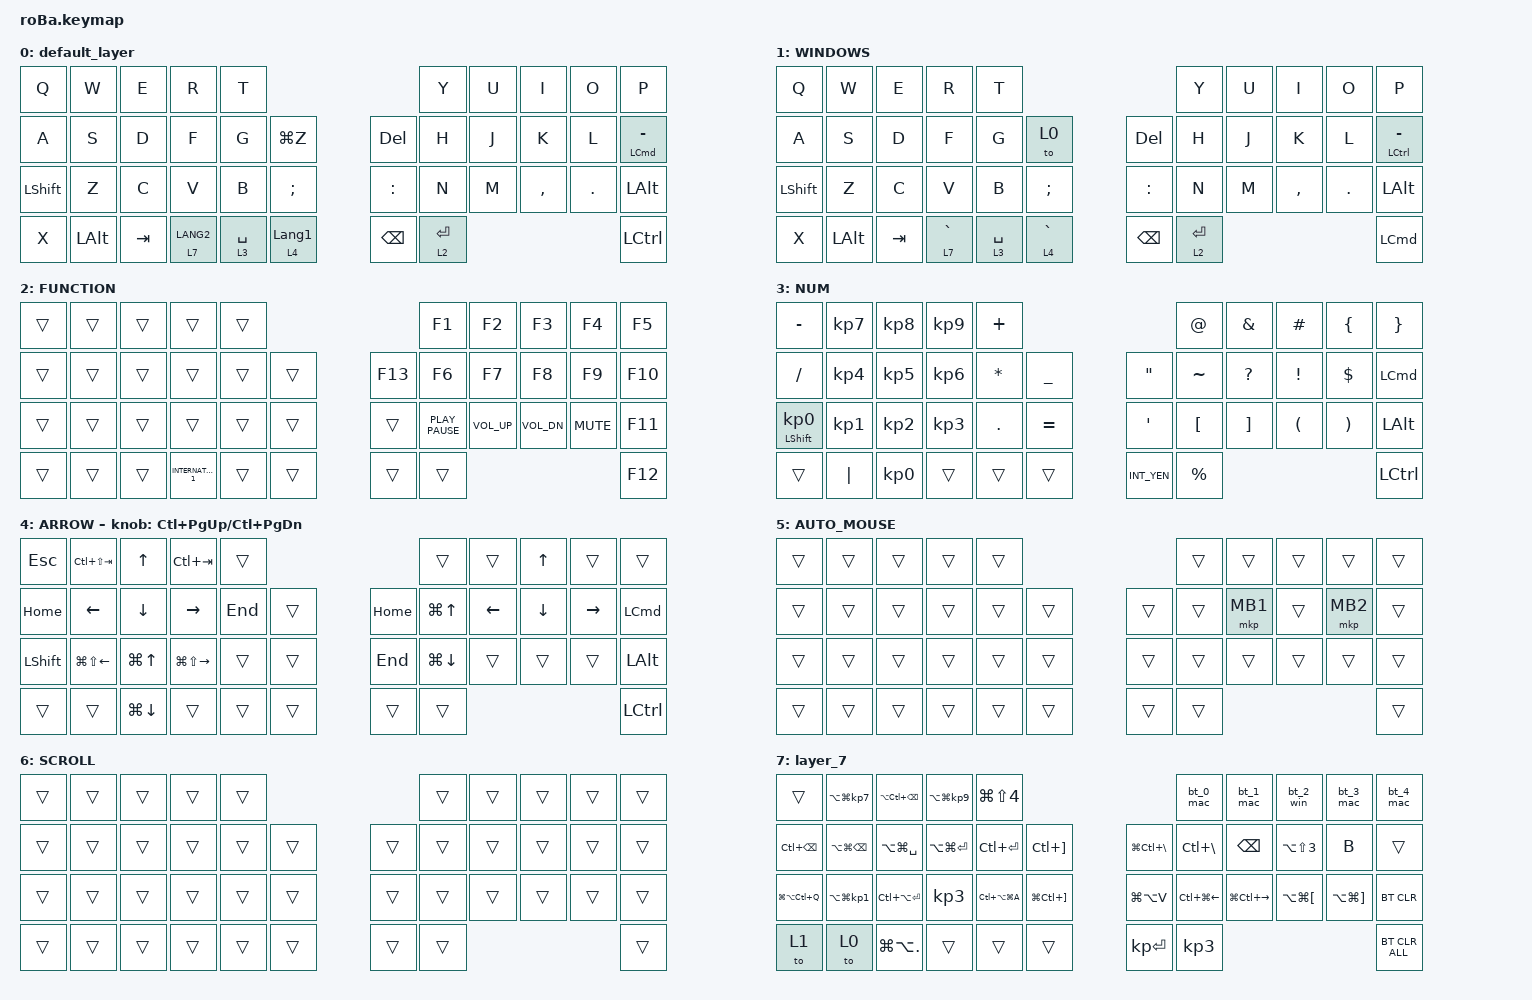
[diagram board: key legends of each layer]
#include <behaviors.dtsi>
#include <dt-bindings/zmk/bt.h>
#include <dt-bindings/zmk/keys.h>
#include <dt-bindings/zmk/pointing.h>

&mt {
    flavor = "balanced";
    quick-tap-ms = <0>;
};

&trackball {
    automouse-layer = <5>;
    scroll-layers = <6>;

    // arrows {
    //     layers = <3>;
    //     bindings =
    //         <&kp RIGHT_ARROW>,
    //         <&kp LEFT_ARROW>,
    //         <&kp UP_ARROW>,
    //         <&kp DOWN_ARROW>;
    //     tick = <10>;
    //     wait-ms = <5>;
    //     tap-ms = <5>;
    // };
};

/ {
    combos {
        compatible = "zmk,combos";

        tab {
            bindings = <&kp TAB>;
            key-positions = <11 12>;
        };

        shift_tab {
            bindings = <&kp LS(TAB)>;
            key-positions = <12 13>;
        };

        muhennkann {
            bindings = <&to_layer_0 ESCAPE>;
            key-positions = <0 1>;
        };

        double_quotation {
            bindings = <&kp LC(RIGHT)>;
            key-positions = <20 21>;
        };

        eq {
            bindings = <&kp EQUAL>;
            key-positions = <24 25>;
        };

        desktop {
            bindings = <&kp LC(LEFT)>;
            key-positions = <16 17>;
        };

        coron {
            bindings = <&kp COLON>;
            key-positions = <22 23>;
        };

        comma {
            bindings = <&kp COMMA>;
            key-positions = <34 35>;
        };

        PT_p {
            bindings = <&kp P>;
            key-positions = <4 14>;
        };

        PT_semicoron {
            bindings = <&kp SEMICOLON>;
            key-positions = <14 26>;
        };

        scroll {
            bindings = <&lt 6 LANG9>;
            key-positions = <19 20>;
        };
    };

    macros {
        bt_0_mac: bt_0_mac {
            compatible = "zmk,behavior-macro";
            #binding-cells = <0>;
            bindings = <&macro_tap>, <&bt BT_SEL 0 &to 0>;

            label = "BT_0_MAC";
        };

        bt_1_mac: bt_1_mac {
            compatible = "zmk,behavior-macro";
            #binding-cells = <0>;
            bindings = <&macro_tap>, <&bt BT_SEL 1 &to 0>;

            label = "BT_1_MAC";
        };

        bt_2_win: bt_2_win {
            compatible = "zmk,behavior-macro";
            #binding-cells = <0>;
            bindings = <&macro_tap>, <&bt BT_SEL 2 &to 1>;

            label = "BT_2_WIN";
        };

        bt_3_mac: bt_3_mac {
            compatible = "zmk,behavior-macro";
            #binding-cells = <0>;
            bindings = <&macro_tap>, <&bt BT_SEL 3 &to 0>;

            label = "BT_3_MAC";
        };

        bt_4_mac: bt_4_mac {
            compatible = "zmk,behavior-macro";
            #binding-cells = <0>;
            bindings = <&macro_tap>, <&bt BT_SEL 4 &to 0>;

            label = "BT_4_MAC";
        };

        to_layer_0: to_layer_0 {
            compatible = "zmk,behavior-macro-one-param";
            #binding-cells = <1>;
            bindings = <&to 0 &macro_param_1to1 &kp MACRO_PLACEHOLDER>;
            label = "TO_LAYER_0";
        };
    };

    behaviors {
        lt_to_layer_0: lt_to_layer_0 {
            compatible = "zmk,behavior-hold-tap";
            label = "LAYER_TAP_TO_0";
            bindings = <&mo>, <&to_layer_0>;

            #binding-cells = <2>;
            tapping-term-ms = <200>;
        };
    };

    keymap {
        compatible = "zmk,keymap";

        default_layer {
            bindings = <
&kp Q           &kp W         &kp E    &kp R                   &kp T                                                        &kp Y        &kp U  &kp I      &kp O    &kp P
&kp A           &kp S         &kp D    &kp F                   &kp G        &kp LG(Z)                        &kp DELETE     &kp H        &kp J  &kp K      &kp L    &mt LEFT_COMMAND MINUS
&kp LEFT_SHIFT  &kp Z         &kp C    &kp V                   &kp B        &kp SEMICOLON                    &kp COLON      &kp N        &kp M  &kp COMMA  &kp DOT  &kp LEFT_ALT
&kp X           &kp LEFT_ALT  &kp TAB  &lt_to_layer_0 7 LANG2  &lt 3 SPACE  &lt_to_layer_0 4 LANGUAGE_1      &kp BACKSPACE  &lt 2 ENTER                             &kp LEFT_CONTROL
            >;
        };

        WINDOWS {
            bindings = <
&kp Q           &kp W         &kp E    &kp R        &kp T                                          &kp Y        &kp U  &kp I      &kp O    &kp P
&kp A           &kp S         &kp D    &kp F        &kp G        &to 0              &kp DELETE     &kp H        &kp J  &kp K      &kp L    &mt LEFT_CONTROL MINUS
&kp LEFT_SHIFT  &kp Z         &kp C    &kp V        &kp B        &kp SEMICOLON      &kp COLON      &kp N        &kp M  &kp COMMA  &kp DOT  &kp LEFT_ALT
&kp X           &kp LEFT_ALT  &kp TAB  &lt 7 GRAVE  &lt 3 SPACE  &lt 4 GRAVE        &kp BACKSPACE  &lt 2 ENTER                             &kp LEFT_COMMAND
            >;
        };

        FUNCTION {
            bindings = <
&trans  &trans  &trans  &trans               &trans                       &kp F1            &kp F2           &kp F3        &kp F4      &kp F5
&trans  &trans  &trans  &trans               &trans  &trans      &kp F13  &kp F6            &kp F7           &kp F8        &kp F9      &kp F10
&trans  &trans  &trans  &trans               &trans  &trans      &trans   &kp K_PLAY_PAUSE  &kp C_VOLUME_UP  &kp C_VOL_DN  &kp K_MUTE  &kp F11
&trans  &trans  &trans  &kp INTERNATIONAL_1  &trans  &trans      &trans   &trans                                                       &kp F12
            >;
        };

        NUM {
            bindings = <
&kp MINUS                   &kp KP_NUMBER_7  &kp KP_NUMBER_8  &kp KP_NUMBER_9  &kp PLUS                                             &kp AT            &kp AMPERSAND      &kp HASH              &kp LEFT_BRACE         &kp RIGHT_BRACE
&kp SLASH                   &kp KP_NUMBER_4  &kp KP_NUMBER_5  &kp KP_NUMBER_6  &kp ASTERISK  &kp UNDERSCORE      &kp DOUBLE_QUOTES  &kp TILDE         &kp QUESTION       &kp EXCL              &kp DOLLAR             &kp LEFT_COMMAND
&mt LEFT_SHIFT KP_NUMBER_0  &kp KP_NUMBER_1  &kp KP_NUMBER_2  &kp KP_NUMBER_3  &kp PERIOD    &kp EQUAL           &kp APOS           &kp LEFT_BRACKET  &kp RIGHT_BRACKET  &kp LEFT_PARENTHESIS  &kp RIGHT_PARENTHESIS  &kp LEFT_ALT
&trans                      &kp PIPE         &kp KP_NUMBER_0  &trans           &trans        &trans              &kp INT_YEN        &kp PERCENT                                                                       &kp LEFT_CONTROL
            >;
        };

        ARROW {
            bindings = <
&kp ESCAPE      &kp LC(LS(TAB))         &kp UP_ARROW      &kp LC(TAB)              &trans                         &trans            &trans    &kp UP_ARROW    &trans     &trans
&kp HOME        &kp LEFT_ARROW          &kp DOWN_ARROW    &kp RIGHT_ARROW          &kp END  &trans      &kp HOME  &kp LG(UP_ARROW)  &kp LEFT  &kp DOWN_ARROW  &kp RIGHT  &kp LEFT_COMMAND
&kp LEFT_SHIFT  &kp LG(LS(LEFT_ARROW))  &kp LG(UP_ARROW)  &kp LG(LS(RIGHT_ARROW))  &trans   &trans      &kp END   &kp LG(DOWN)      &trans    &trans          &trans     &kp LEFT_ALT
&trans          &trans                  &kp LG(DOWN)      &trans                   &trans   &trans      &trans    &trans                                                 &kp LEFT_CONTROL
            >;

            sensor-bindings = <&inc_dec_kp LC(PAGE_UP) LC(PAGE_DOWN)>;
        };

        AUTO_MOUSE {
            bindings = <
&trans  &trans  &trans  &trans  &trans                      &trans  &trans    &trans  &trans    &trans
&trans  &trans  &trans  &trans  &trans  &trans      &trans  &trans  &mkp MB1  &trans  &mkp MB2  &trans
&trans  &trans  &trans  &trans  &trans  &trans      &trans  &trans  &trans    &trans  &trans    &trans
&trans  &trans  &trans  &trans  &trans  &trans      &trans  &trans                              &trans
            >;
        };

        SCROLL {
            bindings = <
&trans  &trans  &trans  &trans  &trans                      &trans  &trans  &trans  &trans  &trans
&trans  &trans  &trans  &trans  &trans  &trans      &trans  &trans  &trans  &trans  &trans  &trans
&trans  &trans  &trans  &trans  &trans  &trans      &trans  &trans  &trans  &trans  &trans  &trans
&trans  &trans  &trans  &trans  &trans  &trans      &trans  &trans                          &trans
            >;
        };

        layer_7 {
            bindings = <
&trans             &kp LA(LG(KP_N7))        &kp LA(LC(BACKSPACE))  &kp LA(LG(KP_N9))  &kp LG(LS(NUMBER_4))                                                        &bt_0_mac          &bt_1_mac          &bt_2_win                 &bt_3_mac                  &bt_4_mac
&kp LC(BACKSPACE)  &kp LA(LG(BACKSPACE))    &kp LA(LG(SPACE))      &kp LA(LG(ENTER))  &kp LC(ENTER)         &kp LC(RIGHT_BRACKET)          &kp LG(LC(BACKSLASH))  &kp LC(BACKSLASH)  &kp BACKSPACE      &kp LA(LS(NUMBER_3))      &kp B                      &trans
&kp LG(LA(LC(Q)))  &kp LA(LG(KP_NUMBER_1))  &kp LC(LA(ENTER))      &kp KP_N3          &kp LC(LA(LG(A)))     &kp LG(LC(RIGHT_BRACKET))      &kp LG(LA(V))          &kp LC(LG(LEFT))   &kp LG(LC(RIGHT))  &kp LA(LG(LEFT_BRACKET))  &kp LA(LG(RIGHT_BRACKET))  &bt BT_CLR
&to 1              &to 0                    &kp LG(LA(PERIOD))     &trans             &trans                &trans                         &kp KP_ENTER           &kp KP_NUMBER_3                                                                            &bt BT_CLR_ALL
            >;
        };
    };
};
